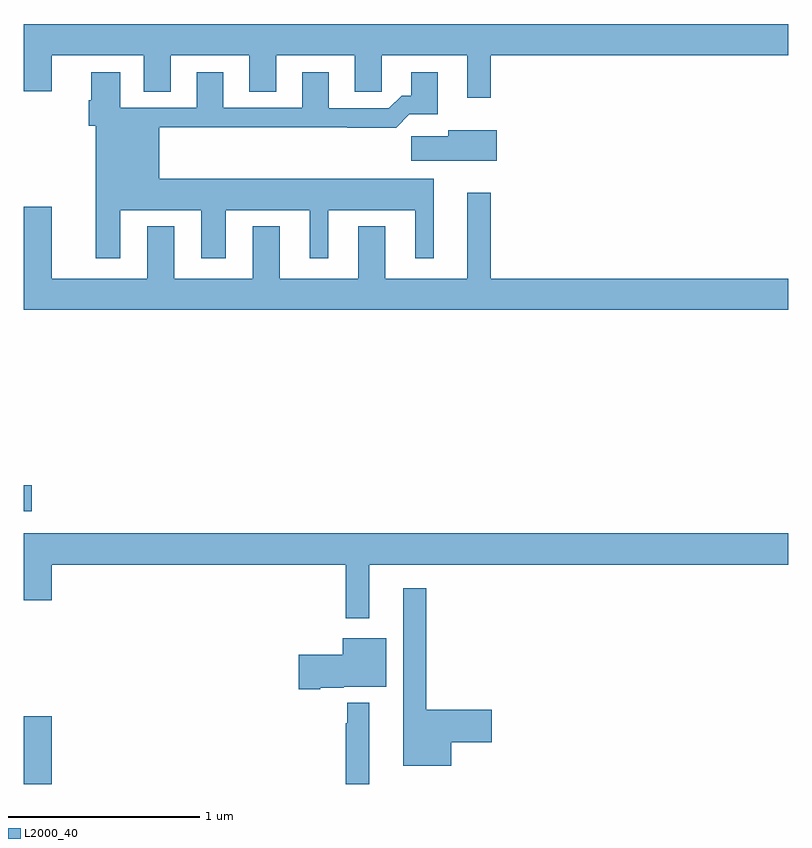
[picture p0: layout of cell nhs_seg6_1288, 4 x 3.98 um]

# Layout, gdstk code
import gdstk
lib = gdstk.Library(unit=1e-6, precision=1e-09)
def R(c, l, rs):  # rectangles x0, y0, x1, y1
    for r in rs: c.add(gdstk.rectangle(r[:2], r[2:], *l))
def P(c, l, *ps):  # polygons
    for p in ps: c.add(gdstk.Polygon(p, *l))
L2000_40 = (2000, 40)

nhs_seg6_1288 = lib.new_cell('nhs_seg6_1288')
R(nhs_seg6_1288, L2000_40, [(189,967.5,189.148,967.855), (189,968.927,189.043,969.062)])
P(nhs_seg6_1288, L2000_40, [(191.443,971.312),(193,971.312),(193,971.476),(189,971.476),(189,971.124),(189.148,971.124),(189.148,971.312),(189.629,971.312),(189.629,971.122),(189.769,971.122),(189.769,971.312),(190.181,971.312),(190.181,971.122),(190.321,971.122),(190.321,971.312),(190.733,971.312),(190.733,971.122),(190.872,971.122),(190.872,971.312),(191.321,971.312),(191.321,971.091),(191.443,971.091)],
  [(189.505,970.502),(189.929,970.502),(189.929,970.251),(190.057,970.251),(190.057,970.502),(190.496,970.502),(190.496,970.251),(190.594,970.251),(190.594,970.502),(191.048,970.502),(191.048,970.251),(191.146,970.251),(191.146,970.666),(189.709,970.666),(189.709,970.936),(190.693,970.936),(190.693,970.934),(190.949,970.934),(191.018,971.003),(191.167,971.003),(191.167,971.224),(191.027,971.224),(191.027,971.101),(190.978,971.101),(190.911,971.034),(190.597,971.034),(190.597,971.224),(190.457,971.224),(190.457,971.037),(190.045,971.037),(190.045,971.224),(189.905,971.224),(189.905,971.037),(189.505,971.037),(189.505,971.224),(189.353,971.224),(189.353,971.078),(189.341,971.078),(189.341,970.944),(189.377,970.944),(189.377,970.251),(189.505,970.251)],
  [(191.476,970.921),(191.222,970.921),(191.222,970.889),(191.028,970.889),(191.028,970.76),(191.476,970.76)],
  [(193,970.144),(191.443,970.144),(191.443,970.594),(191.321,970.594),(191.321,970.144),(190.891,970.144),(190.891,970.417),(190.751,970.417),(190.751,970.144),(190.339,970.144),(190.339,970.417),(190.199,970.417),(190.199,970.144),(189.787,970.144),(189.787,970.417),(189.647,970.417),(189.647,970.144),(189.148,970.144),(189.148,970.519),(189,970.519),(189,969.98),(193,969.98)],
  [(190.807,968.648),(193,968.648),(193,968.812),(189,968.812),(189,968.46),(189.148,968.46),(189.148,968.648),(190.686,968.648),(190.686,968.367),(190.807,968.367)],
  [(191.236,967.718),(191.449,967.718),(191.449,967.889),(191.107,967.889),(191.107,968.524),(190.985,968.524),(190.985,967.595),(191.236,967.595)],
  [(190.552,968.003),(190.674,968.003),(190.674,968.009),(190.897,968.009),(190.897,968.263),(190.67,968.263),(190.67,968.175),(190.44,968.175),(190.44,967.997),(190.552,967.997)],
  [(190.807,967.924),(190.693,967.924),(190.693,967.817),(190.686,967.817),(190.686,967.5),(190.807,967.5)])

lib.write_gds('nhs_seg6_1288.gds')
